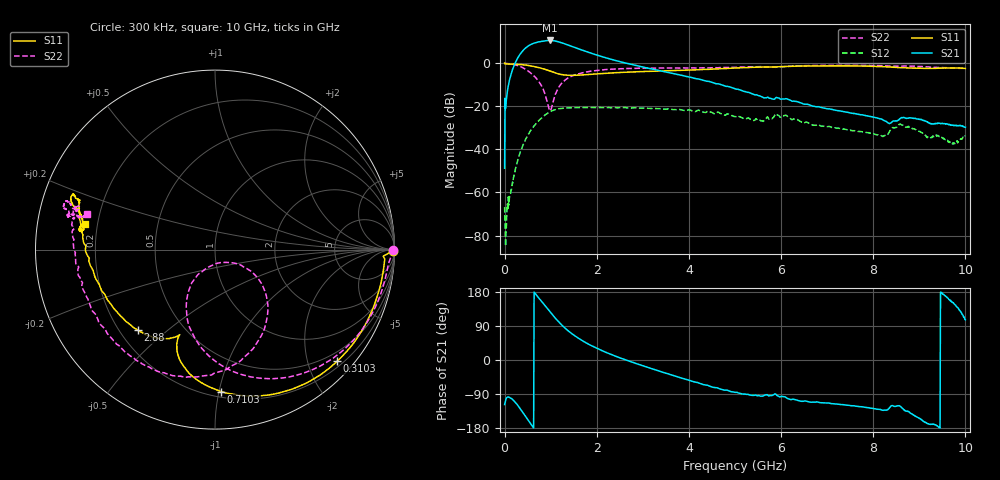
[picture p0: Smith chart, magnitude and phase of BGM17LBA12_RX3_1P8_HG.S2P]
!Agilent Technologies,E5071C,MY46316587,B.13.01
!Date: Fri Dec 08 11:03:19 2017
!Data & Calibration Information:
!Freq	S11:SOLT2(ON)	S21:SOLT2(ON)	S12:SOLT2(ON)	S22:SOLT2(ON)
!PortZ  Port1:50+j0  Port2:50+j0
!Above PortZ is port z conversion or system Z0 setting when saving the data.
!When reading, reference impedance value at option line is always used.
# Hz S dB R 50
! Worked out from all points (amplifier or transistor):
!   1001 points, 300 kHz to 10 GHz, reference 50 ohm
!   highest |S21| = 10.4 dB at 990.3 MHz (marker M1)
!   |S21| within 3 dB of that: 485.1 MHz to 1.491 GHz (1.006 GHz wide, 102 % of centre)
!   unconditionally stable (mu >= 1): start of sweep to end of sweep
!   at 1.66 GHz: K = 1.41, MAG = 9.6 dB, |S12| = -20.7 dB
!   at 5 GHz: K = 5.93, MAG = -4.3 dB, |S12| = -24.9 dB
!   at 10 GHz: K = 159.78, MAG = -23.0 dB, |S12| = -33.9 dB
!   lowest NFmin = 1.08 dB at 750 MHz
!   S11 on the Smith chart (normalised r, x): 300 kHz: open; 310.3 MHz: 0.31, -2.55; 710.3 MHz: 0.24, -1.01; 2.88 GHz: 0.27, -0.40; 10 GHz: 0.15, +0.09
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300000  -0.07 -0.4  -48.85 -117.6  -66.78 -154.2  -0.07 -0.2
6.02982e7  -0.50 -8.8  -13.18 -98.1  -65.33 126.0  -0.35 -11.2
1.902943e8  -0.58 -26.4  -2.12 -106.2  -53.40 161.5  -0.72 -33.8
3.102907e8  -0.71 -42.4  3.13 -123.3  -43.38 162.3  -1.46 -54.6
4.802856e8  -1.10 -63.6  7.29 -153.1  -34.44 145.3  -3.31 -82.2
6.00282e8  -1.54 -76.9  8.79 -174.2  -30.28 132.0  -5.31 -99.0
7.102787e8  -2.03 -87.6  9.59 168.4  -27.47 119.4  -7.79 -112.5
8.502745e8  -2.81 -99.2  10.15 147.9  -24.65 104.2  -12.88 -124.9
9.902703e8  -3.84 -107.9  10.37 126.8  -22.60 87.4  -22.25 -75.1
1.140266e9  -4.94 -112.1  9.90 105.1  -21.44 70.3  -12.75 -31.0
1.33026e9  -5.68 -112.7  8.62 82.2  -20.91 53.6  -7.70 -44.9
1.490255e9  -5.78 -112.6  7.37 66.7  -20.79 43.0  -5.87 -56.7
1.67025e9  -5.62 -113.3  5.98 52.3  -20.69 33.7  -4.67 -67.8
2.190234e9  -4.83 -119.7  2.38 20.7  -20.74 14.4  -3.11 -91.8
2.880214e9  -4.13 -133.7  -1.36 -10.4  -20.90 -5.0  -2.51 -114.5
3.3402e9  -3.81 -145.6  -3.49 -28.6  -21.23 -16.0  -2.41 -129.3
5.00015e9  -2.38 170.0  -12.01 -85.4  -24.90 -49.8  -2.07 176.7
6.6701e9  -1.43 158.6  -19.89 -111.2  -28.71 -71.1  -1.25 161.9
8.34005e9  -1.87 163.2  -28.06 -128.2  -32.31 -40.8  -1.48 165.1
8.600042e9  -2.25 165.5  -25.59 -123.2  -28.54 -66.5  -1.53 167.4
9.720008e9  -2.34 171.5  -28.89 152.1  -37.56 169.3  -2.42 165.7
1e10  -2.64 169.0  -29.85 105.8  -33.90 78.9  -2.63 164.4
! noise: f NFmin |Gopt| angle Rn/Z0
6.5e+08  1.158  0.5975  65.67  0.2985
7e+08  1.103  0.5041  71.75  0.2356
7.5e+08  1.076  0.5077  71.97  0.2292
8e+08  1.104  0.4885  75.47  0.2363
8.5e+08  1.086  0.4953  79.26  0.2202
9e+08  1.127  0.4579  81.11  0.2148
9.5e+08  1.152  0.4693  83.56  0.2268
1e+09  1.186  0.4482  88.86  0.1984
